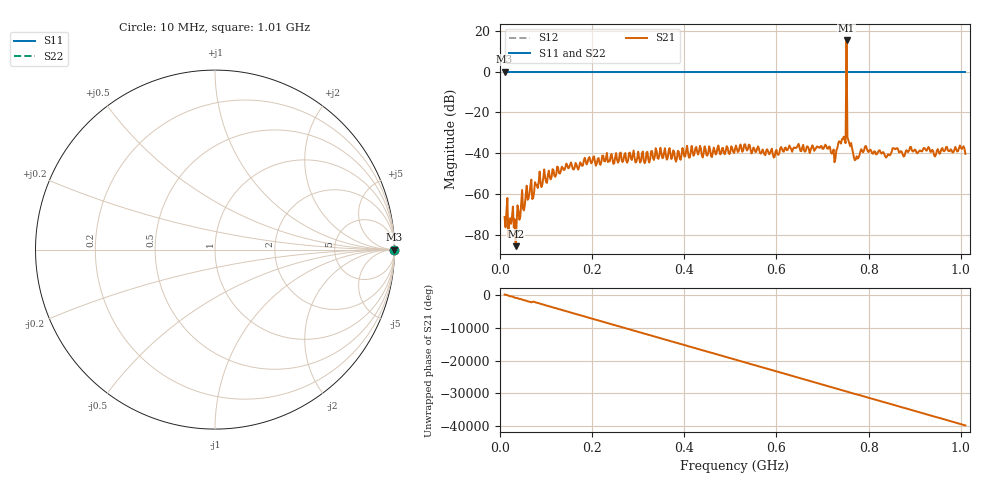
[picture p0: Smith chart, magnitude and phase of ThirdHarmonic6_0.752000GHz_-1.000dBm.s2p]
! 8/16/2025 1:09:26 AM
! C:\ANRITSUVNA\TEMP\TEMP.S2P
! CHANNEL.1
! TR.MEASUREMENT
! RAW.DATA
! RF.CORRECTION.OFF
! AVERAGING.OFF
! IF.BANDWIDTH: 5KHZ
! SWEEPTYPE:  FREQ.SWEEP(Linear)
! Reference Plane Port Info
! PORT:  PORT1  PORT2
! DISTANCE:  0  m  0  m
! TIME:  0  s  0  s
! PHASE.OFFSET:  0  deg.  0  deg.
! LOSS:  0  dB  0  dB
! REF.LOSS:  0  dB  0  dB
! REF.FREQ:  0  Hz  0  Hz
! Power Info
! POWER:  -20  dBm  -20  dBm
! EFF.POWER:  -20  dBm  -20  dBm
! SOURCE.ATTEN:  0  dB  0  dB
! TEST.ATTEN:  0  dB  0  dB
# GHZ S RI R 50.0
! FREQ.GHZ  S11RE  S11IM  S21RE  S21IM  S12RE  S12IM  S22RE  S22IM
!; PortSelection: Port_12
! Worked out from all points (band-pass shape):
!   501 points, 10 MHz to 1.01 GHz, reference 50 ohm
!   highest |S21| = 15.20 dB at 752 MHz (marker M1); lowest = -85.5 dB at 34 MHz (marker M2)
!   |S21| within 3 dB of the highest: 751.8807 MHz to 752.127 MHz (246.3 kHz wide, 0.0328 % of centre)
!   lowest |S11| = 0.0 dB at 10 MHz (marker M3)
!   |S11| at or under -10 dB: nowhere
!   |S22| runs from 0.0 to 0.0 dB; largest |S21 - S12| = 6.2
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0.01  1 0  -0.000275 9.1e-06  1 0  1 0
0.034  1 0  8.2e-06 -5.24e-05  1 0  1 0
0.06  1 0  8.8e-05 -0.000721  1 0  1 0
0.082  1 0  -0.000996 0.000998  1 0  1 0
0.178  1 0  -0.00484 -0.000573  1 0  1 0
0.344  1 0  0.00675 -0.00275  1 0  1 0
0.51  1 0  -0.0105 0.00671  1 0  1 0
0.598  1 0  -0.0101 -0.00445  1 0  1 0
0.678  1 0  -0.0132 -0.00842  1 0  1 0
0.71  1 0  0.0129 -0.00184  1 0  1 0
0.724  1 0  -0.0123 0.000507  1 0  1 0
0.746  1 0  0.0242 -0.00796  1 0  1 0
0.748  1 0  -0.00812 -0.0201  1 0  1 0
0.752  1 0  -2.153 5.339  1 0  1 0
0.756  1 0  0.00209 -0.0206  1 0  1 0
0.758  1 0  -0.0169 -0.00389  1 0  1 0
0.772  1 0  0.00694 0.00109  1 0  1 0
0.794  1 0  -0.0132 -0.00736  1 0  1 0
0.844  1 0  0.0091 0.00203  1 0  1 0
0.856  1 0  -0.00459 -0.0121  1 0  1 0
0.876  1 0  -0.00793 0.00236  1 0  1 0
1.01  1 0  -0.00875 0.00407  1 0  1 0
